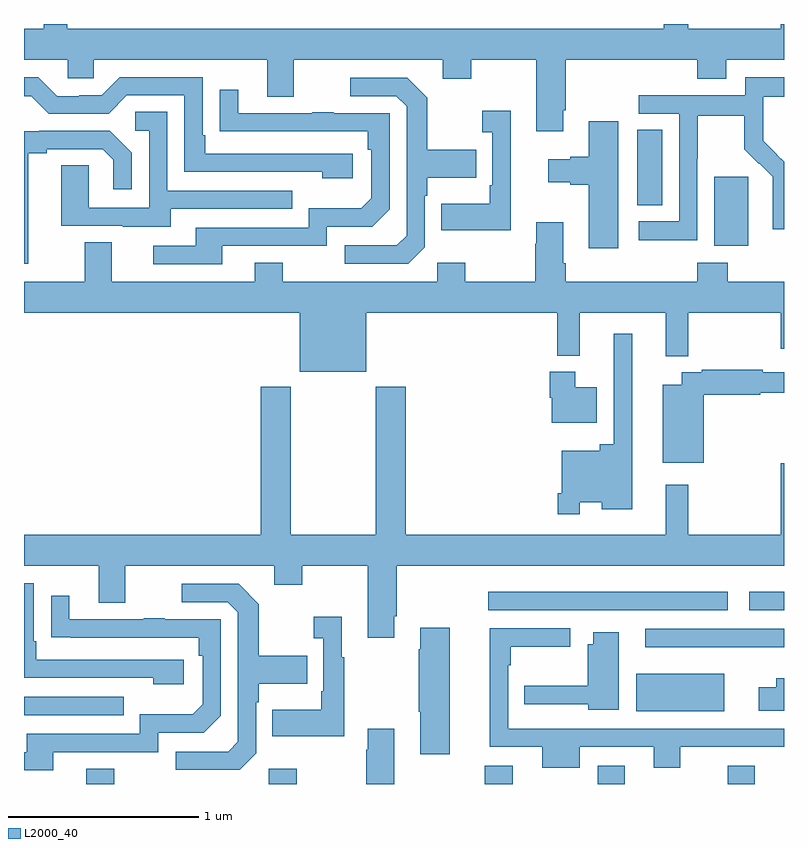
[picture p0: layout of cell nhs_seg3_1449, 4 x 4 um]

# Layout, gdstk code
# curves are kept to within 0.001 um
import gdstk
lib = gdstk.Library(unit=1e-6, precision=1e-09)
def R(c, l, rs):  # rectangles x0, y0, x1, y1
    for r in rs: c.add(gdstk.rectangle(r[:2], r[2:], *l))
def P(c, l, *ps):  # polygons
    for p in ps: c.add(gdstk.Polygon(p, *l))
L2000_40 = (2000, 40)

nhs_seg3_1449 = lib.new_cell('nhs_seg3_1449')
R(nhs_seg3_1449, L2000_40, [(185.327,734.4,185.475,734.479), (186.288,734.4,186.435,734.479), (187.426,734.4,187.573,734.497), (188.021,734.4,188.161,734.497), (188.705,734.4,188.845,734.497), (185,734.763,185.525,734.859), (188.222,734.783,188.686,734.98), (188.271,735.119,189,735.216), (187.443,735.315,188.704,735.412), (188.817,735.315,189,735.412), (188.633,737.234,188.812,737.595), (188.228,737.446,188.359,737.843)])
P(nhs_seg3_1449, L2000_40, [(187.837,737.947),(187.85,737.947),(187.85,738.212),(188.543,738.212),(188.543,738.113),(188.695,738.113),(188.695,738.212),(189,738.212),(189,738.4),(188.984,738.4),(188.984,738.376),(188.495,738.376),(188.495,738.4),(188.367,738.4),(188.367,738.376),(185.227,738.376),(185.227,738.4),(185.105,738.4),(185.105,738.376),(185,738.376),(185,738.212),(185.229,738.212),(185.229,738.114),(185.367,738.114),(185.367,738.212),(186.281,738.212),(186.281,738.018),(186.421,738.018),(186.421,738.212),(187.205,738.212),(187.205,738.113),(187.353,738.113),(187.353,738.212),(187.697,738.212),(187.697,737.835),(187.837,737.835)],
  [(186.73,737.718),(185.953,737.718),(185.953,737.815),(185.94,737.815),(185.94,738.12),(185.505,738.12),(185.409,738.024),(185.291,738.024),(185.291,738.021),(185.175,738.021),(185.075,738.121),(185,738.121),(185,738.021),(185.037,738.021),(185.13,737.928),(185.445,737.928),(185.541,738.024),(185.844,738.024),(185.844,737.622),(186.569,737.622),(186.569,737.588),(186.73,737.588)],
  [(188.544,737.692),(188.547,737.692),(188.547,737.916),(188.791,737.916),(188.791,737.741),(188.868,737.664),(188.871,737.667),(188.942,737.597),(188.942,737.474),(188.94,737.474),(188.94,737.32),(189,737.32),(189,737.674),(188.89,737.786),(188.89,737.883),(188.892,737.883),(188.892,738.017),(189,738.017),(189,738.121),(188.796,738.121),(188.796,738.024),(188.235,738.024),(188.235,737.928),(188.448,737.928),(188.448,737.361),(188.235,737.361),(188.235,737.263),(188.544,737.263)],
  [(187.11,737.226),(187.11,737.495),(187.123,737.495),(187.123,737.591),(187.379,737.591),(187.379,737.739),(187.123,737.739),(187.123,738.011),(187.017,738.117),(186.717,738.117),(186.717,738.021),(186.96,738.021),(187.014,737.967),(187.014,737.286),(186.963,737.235),(186.687,737.235),(186.687,737.139),(187.023,737.139)],
  [(186.043,737.232),(186.594,737.232),(186.594,737.334),(186.834,737.334),(186.924,737.424),(186.924,737.931),(186.629,737.931),(186.629,737.936),(186.517,737.936),(186.517,737.931),(186.127,737.931),(186.127,738.055),(186.031,738.055),(186.031,737.836),(186.808,737.835),(186.808,737.738),(186.828,737.738),(186.828,737.484),(186.775,737.431),(186.498,737.431),(186.498,737.328),(185.903,737.328),(185.903,737.232),(185.679,737.232),(185.679,737.136),(186.043,737.136)],
  [(187.562,737.944),(187.413,737.944),(187.413,737.831),(187.464,737.831),(187.464,737.551),(187.452,737.551),(187.452,737.455),(187.195,737.455),(187.195,737.315),(187.562,737.315)],
  [(185.773,737.427),(186.413,737.427),(186.413,737.523),(185.754,737.523),(185.754,737.939),(185.586,737.939),(185.586,737.838),(185.658,737.838),(185.658,737.433),(185.34,737.433),(185.34,737.657),(185.195,737.657),(185.195,737.337),(185.519,737.337),(185.519,737.333),(185.773,737.333)],
  [(188.128,737.887),(187.973,737.887),(187.973,737.702),(187.874,737.702),(187.874,737.689),(187.758,737.689),(187.758,737.567),(187.874,737.567),(187.874,737.555),(187.973,737.555),(187.973,737.22),(188.128,737.22)],
  [(185.023,737.72),(185.119,737.72),(185.119,737.742),(185.414,737.742),(185.471,737.685),(185.471,737.529),(185.568,737.529),(185.568,737.722),(185.452,737.838),(185.08,737.838),(185.08,737.835),(185,737.835),(185,737.139),(185.023,737.139)],
  [(186.802,736.88),(187.807,736.88),(187.807,736.655),(187.925,736.655),(187.925,736.88),(188.378,736.88),(188.378,736.651),(188.495,736.651),(188.495,736.88),(188.984,736.88),(188.984,736.692),(189,736.692),(189,737.044),(188.703,737.044),(188.703,737.143),(188.543,737.143),(188.543,737.044),(187.85,737.044),(187.85,737.14),(187.837,737.14),(187.837,737.356),(187.697,737.356),(187.697,737.243),(187.69,737.243),(187.69,737.044),(187.323,737.044),(187.323,737.143),(187.176,737.143),(187.176,737.044),(186.363,737.044),(186.363,737.143),(186.215,737.143),(186.215,737.044),(185.461,737.044),(185.461,737.252),(185.321,737.252),(185.321,737.044),(185,737.044),(185,736.88),(186.452,736.88),(186.452,736.571),(186.802,736.571)],
  [(187.926,735.884),(188.042,735.884),(188.042,735.845),(188.2,735.845),(188.2,736.771),(188.103,736.771),(188.103,736.189),(188.03,736.189),(188.03,736.153),(187.83,736.153),(187.83,735.931),(187.81,735.931),(187.81,735.819),(187.926,735.819)],
  [(188.578,736.45),(188.874,736.45),(188.874,736.458),(189,736.458),(189,736.566),(188.888,736.566),(188.888,736.579),(188.566,736.579),(188.566,736.566),(188.462,736.566),(188.462,736.501),(188.363,736.501),(188.363,736.091),(188.578,736.091)],
  [(188.014,736.489),(187.9,736.489),(187.9,736.57),(187.766,736.57),(187.766,736.434),(187.778,736.434),(187.778,736.301),(188.014,736.301)],
  [(185,735.548),(185.393,735.548),(185.393,735.354),(185.533,735.354),(185.533,735.548),(186.317,735.548),(186.317,735.449),(186.465,735.449),(186.465,735.548),(186.809,735.548),(186.809,735.171),(186.949,735.171),(186.949,735.283),(186.962,735.283),(186.962,735.548),(189,735.548),(189,736.087),(188.984,736.087),(188.984,735.712),(188.495,735.712),(188.495,735.976),(188.378,735.976),(188.378,735.712),(187.01,735.712),(187.01,736.492),(186.85,736.492),(186.85,735.712),(186.405,735.712),(186.405,736.492),(186.245,736.492),(186.245,735.712),(185,735.712)],
  [(185.842,735.054),(185.065,735.054),(185.065,735.151),(185.052,735.151),(185.052,735.456),(185,735.456),(185,734.958),(185.681,734.958),(185.681,734.924),(185.842,734.924)],
  [(186.222,734.562),(186.222,734.831),(186.235,734.831),(186.235,734.927),(186.491,734.927),(186.491,735.075),(186.235,735.075),(186.235,735.347),(186.129,735.453),(185.829,735.453),(185.829,735.357),(186.072,735.357),(186.126,735.303),(186.126,734.622),(186.075,734.571),(185.799,734.571),(185.799,734.475),(186.135,734.475)],
  [(185.155,734.568),(185.706,734.568),(185.706,734.67),(185.946,734.67),(186.036,734.76),(186.036,735.267),(185.741,735.267),(185.741,735.272),(185.629,735.272),(185.629,735.267),(185.239,735.267),(185.239,735.391),(185.143,735.391),(185.143,735.172),(185.92,735.171),(185.92,735.074),(185.94,735.074),(185.94,734.82),(185.887,734.767),(185.61,734.767),(185.61,734.664),(185.015,734.664),(185.015,734.568),(185,734.568),(185,734.472),(185.155,734.472)],
  [(186.685,735.067),(186.673,735.067),(186.673,735.28),(186.525,735.28),(186.525,735.167),(186.576,735.167),(186.576,734.887),(186.564,734.887),(186.564,734.791),(186.307,734.791),(186.307,734.651),(186.685,734.651)],
  [(187.24,735.223),(187.085,735.223),(187.085,735.11),(187.078,735.11),(187.078,734.779),(187.085,734.779),(187.085,734.556),(187.24,734.556)],
  [(187.924,734.595),(188.315,734.595),(188.315,734.486),(188.455,734.486),(188.455,734.595),(189,734.595),(189,734.691),(187.548,734.691),(187.548,735.026),(187.561,735.026),(187.561,735.122),(187.876,735.122),(187.876,735.219),(187.451,735.219),(187.451,734.595),(187.727,734.595),(187.727,734.486),(187.924,734.486)],
  [(188.131,735.199),(187.997,735.199),(187.997,735.136),(187.967,735.136),(187.967,734.918),(187.633,734.918),(187.633,734.82),(187.971,734.82),(187.971,734.792),(188.131,734.792)],
  [(189,734.956),(188.96,734.956),(188.96,734.908),(188.868,734.908),(188.868,734.786),(189,734.786)],
  [(186.949,734.692),(186.809,734.692),(186.809,734.579),(186.802,734.579),(186.802,734.4),(186.949,734.4)])

lib.write_gds('nhs_seg3_1449.gds')
